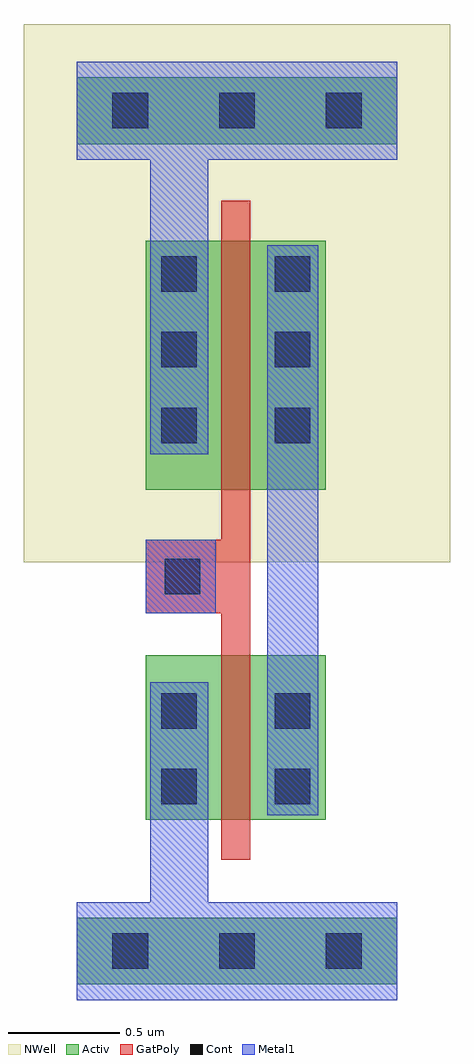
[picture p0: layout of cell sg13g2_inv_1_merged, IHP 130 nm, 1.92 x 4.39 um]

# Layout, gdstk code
import gdstk
lib = gdstk.Library(unit=1e-6, precision=1e-09)
def R(c, l, rs):  # rectangles x0, y0, x1, y1
    for r in rs: c.add(gdstk.rectangle(r[:2], r[2:], *l))
def A(c, l, x, y, w, h, nx, ny, dx, dy):  # array of equal rectangles
    R(c, l, [(x+i*dx, y+j*dy, x+i*dx+w, y+j*dy+h) for i in range(nx) for j in range(ny)])
def P(c, l, *ps):  # polygons
    for p in ps: c.add(gdstk.Polygon(p, *l))
Activ = (1, 0)
GatPoly = (5, 0)
Cont = (6, 0)
Metal1 = (8, 0)
NWell = (31, 0)

sg13g2_inv_1_merged = lib.new_cell('sg13g2_inv_1_merged')
R(sg13g2_inv_1_merged, Activ, [(0,-0.15,1.44,0.15), (0.31,0.59,1.12,1.33), (0.31,2.075,1.12,3.195), (0,3.63,1.44,3.93)])
P(sg13g2_inv_1_merged, GatPoly, [(0.65,0.41),(0.65,1.52),(0.31,1.52),(0.31,1.85),(0.65,1.85),(0.65,3.375),(0.78,3.375),(0.78,0.41)])
A(sg13g2_inv_1_merged, Cont, 0.16, -0.08, 0.16, 0.16, 3, 2, 0.48, 3.78)
A(sg13g2_inv_1_merged, Cont, 0.38, 2.285, 0.16, 0.16, 1, 3, 0, 0.34)
A(sg13g2_inv_1_merged, Cont, 0.89, 2.285, 0.16, 0.16, 1, 3, 0, 0.34)
R(sg13g2_inv_1_merged, Cont, [(0.38,0.66,0.54,0.82), (0.89,0.66,1.05,0.82), (0.38,1,0.54,1.16), (0.89,1,1.05,1.16), (0.395,1.605,0.555,1.765)])
R(sg13g2_inv_1_merged, Metal1, [(0.855,0.61,1.085,3.175), (0.31,1.52,0.625,1.85)])
P(sg13g2_inv_1_merged, Metal1, [(0,-0.22),(0,0.22),(0.33,0.22),(0.33,1.21),(0.59,1.21),(0.59,0.22),(1.44,0.22),(1.44,-0.22)],
  [(0.33,2.235),(0.33,3.56),(0,3.56),(0,4),(1.44,4),(1.44,3.56),(0.59,3.56),(0.59,2.235)])
R(sg13g2_inv_1_merged, NWell, [(-0.24,1.75,1.68,4.17)])

lib.write_gds('sg13g2_inv_1_merged.gds')
